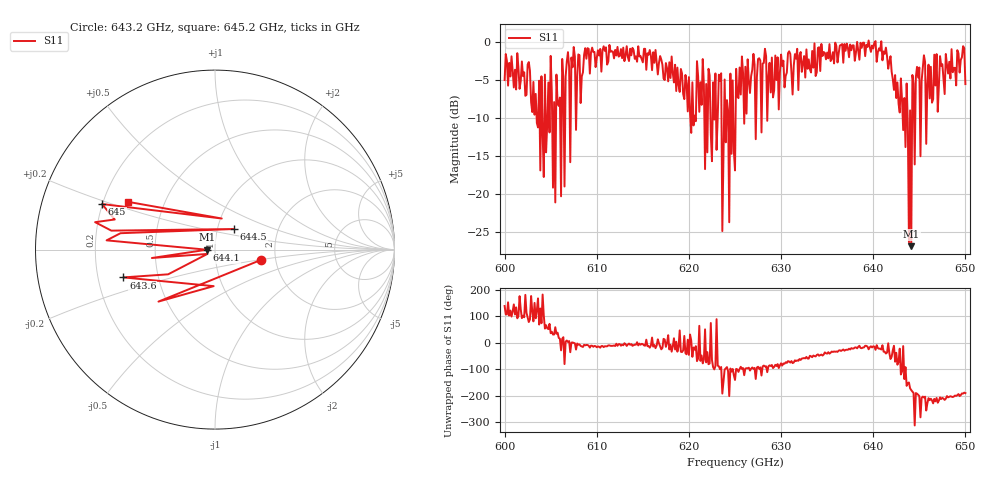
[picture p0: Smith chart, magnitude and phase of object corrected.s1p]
!Created with skrf (http://scikit-rf.org).
# GHz S MA R 50.0
!freq magS11 angS11
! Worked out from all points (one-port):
!   401 points, 600 GHz to 650 GHz, reference 50 ohm
!   lowest |S11| = -26.8 dB at 644.1 GHz (marker M1), VSWR 1.10, Z = 45.6 - j0.062 ohm
!   |S11| at or under -10 dB: 603.4783 GHz to 603.6503 GHz (171.9 MHz wide, 0.0285 % of centre); 604.0924 GHz to 604.322 GHz (229.6 MHz wide, 0.038 % of centre); 604.4448 GHz to 604.6441 GHz (199.3 MHz wide, 0.033 % of centre) (the widest 3 of 35)
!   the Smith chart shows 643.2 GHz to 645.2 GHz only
!   S11 on the Smith chart (normalised r, x): 643.2 GHz: 1.68, -0.21; 643.6 GHz: 0.31, -0.13; 644.1 GHz: 0.91, -0.00; 644.5 GHz: 1.20, +0.28; 645 GHz: 0.20, +0.19; 645.2 GHz: 0.30, +0.23
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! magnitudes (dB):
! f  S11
! 600 GHz  -5.0
! 602.6 GHz  -2.6
! 604.4 GHz  -4.3
! 604.9 GHz  -11.9
! 605.4 GHz  -7.9
! 606.2 GHz  -2.2
! 606.5 GHz  -19.0
! 608.9 GHz  -2.2
! 612.5 GHz  -1.8
! 618.8 GHz  -3.4
! 620.5 GHz  -11.0
! 621.1 GHz  -9.2
! 622.2 GHz  -4.4
! 623.2 GHz  -4.3
! 623.9 GHz  -4.9
! 625 GHz  -16.9
! 625.6 GHz  -6.9
! 631.2 GHz  -6.9
! 637.5 GHz  -0.3
! 641.1 GHz  -1.3
! 643.2 GHz  -11.6
! 643.6 GHz  -5.5
! 643.8 GHz  -10.6
! 644.1 GHz  -26.8
! 644.5 GHz  -16.1
! 645 GHz  -3.4
! 645.2 GHz  -5.1
! 650 GHz  -5.5
